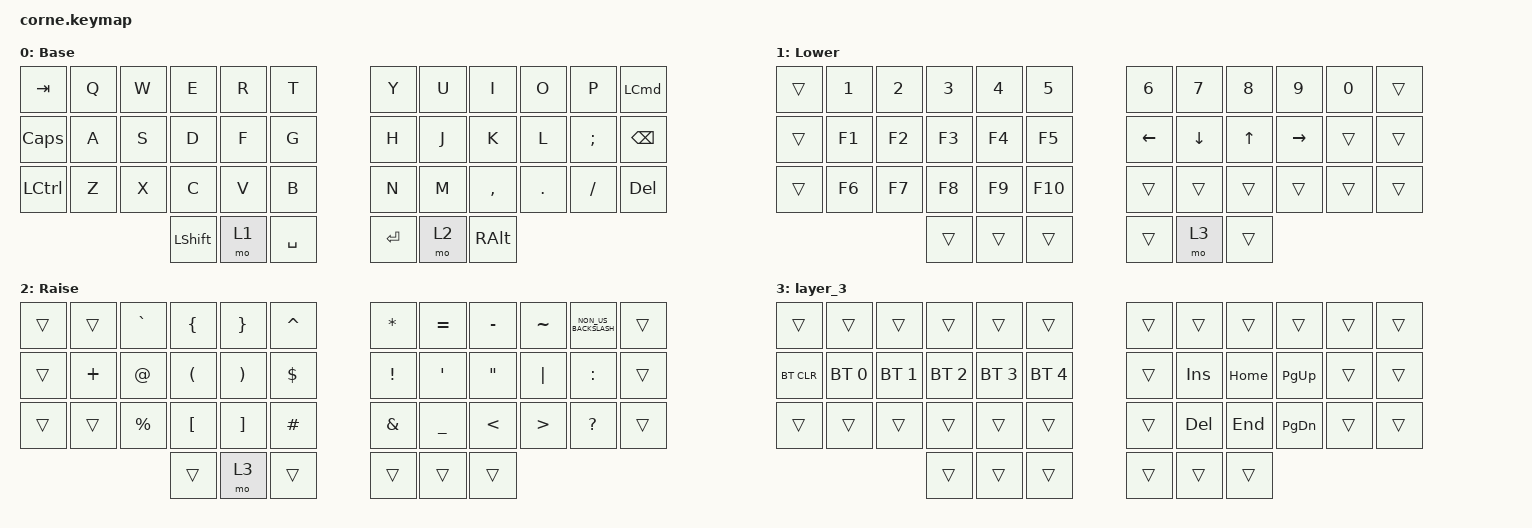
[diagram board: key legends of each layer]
/*
 * Copyright (c) 2020 The ZMK Contributors
 *
 * SPDX-License-Identifier: MIT
 */

#include <behaviors.dtsi>
#include <dt-bindings/zmk/bt.h>
#include <dt-bindings/zmk/keys.h>

/ {
    keymap {
        compatible = "zmk,keymap";

        default_layer {
            // -----------------------------------------------------------------------------------------
            // |  TAB |  Q  |  W  |  E  |  R  |  T  |   |  Y  |  U   |  I  |  O  |  P  | BKSP |
            // | CTRL |  A  |  S  |  D  |  F  |  G  |   |  H  |  J   |  K  |  L  |  ;  |  '   |
            // | SHFT |  Z  |  X  |  C  |  V  |  B  |   |  N  |  M   |  ,  |  .  |  /  | ESC  |
            //                    | GUI | LWR | SPC |   | ENT | RSE  | ALT |

            display-name = "Base";
            bindings = <
&kp TAB           &kp Q  &kp W  &kp E           &kp R  &kp T        &kp Y    &kp U  &kp I      &kp O    &kp P     &kp LEFT_COMMAND
&kp CAPSLOCK      &kp A  &kp S  &kp D           &kp F  &kp G        &kp H    &kp J  &kp K      &kp L    &kp SEMI  &kp BACKSPACE
&kp LEFT_CONTROL  &kp Z  &kp X  &kp C           &kp V  &kp B        &kp N    &kp M  &kp COMMA  &kp DOT  &kp FSLH  &kp DELETE
                                &kp LEFT_SHIFT  &mo 1  &kp SPACE    &kp RET  &mo 2  &kp RALT
            >;
        };

        lower_layer {
            // -----------------------------------------------------------------------------------------
            // |  TAB |  1  |  2  |  3  |  4  |  5  |   |  6  |  7  |  8  |  9  |  0  | BKSP |
            // | BTCLR| BT1 | BT2 | BT3 | BT4 | BT5 |   | LFT | DWN |  UP | RGT |     |      |
            // | SHFT |     |     |     |     |     |   |     |     |     |     |     |      |
            //                    | GUI |     | SPC |   | ENT |     | ALT |

            display-name = "Lower";
            bindings = <
&trans  &kp N1  &kp N2  &kp N3  &kp N4  &kp N5     &kp N6    &kp N7    &kp N8  &kp N9     &kp N0  &trans
&trans  &kp F1  &kp F2  &kp F3  &kp F4  &kp F5     &kp LEFT  &kp DOWN  &kp UP  &kp RIGHT  &trans  &trans
&trans  &kp F6  &kp F7  &kp F8  &kp F9  &kp F10    &trans    &trans    &trans  &trans     &trans  &trans
                        &trans  &trans  &trans     &trans    &mo 3     &trans
            >;
        };

        raise_layer {
            // -----------------------------------------------------------------------------------------
            // |  TAB |  !  |  @  |  #  |  $  |  %  |   |  ^  |  &  |  *  |  (  |  )  | BKSP |
            // | CTRL |     |     |     |     |     |   |  -  |  =  |  [  |  ]  |  \  |  `   |
            // | SHFT |     |     |     |     |     |   |  _  |  +  |  {  |  }  | "|" |  ~   |
            //                    | GUI |     | SPC |   | ENT |     | ALT |

            display-name = "Raise";
            bindings = <
&trans  &trans    &kp GRAVE    &kp LEFT_BRACE        &kp RIGHT_BRACE        &kp CARET     &kp ASTERISK     &kp EQUAL       &kp MINUS          &kp TILDE         &kp NON_US_BACKSLASH  &trans
&trans  &kp PLUS  &kp AT_SIGN  &kp LEFT_PARENTHESIS  &kp RIGHT_PARENTHESIS  &kp DOLLAR    &kp EXCLAMATION  &kp SQT         &kp DOUBLE_QUOTES  &kp PIPE          &kp COLON             &trans
&trans  &trans    &kp PERCENT  &kp LEFT_BRACKET      &kp RIGHT_BRACKET      &kp HASH      &kp AMPERSAND    &kp UNDERSCORE  &kp LESS_THAN      &kp GREATER_THAN  &kp QUESTION          &trans
                               &trans                &mo 3                  &trans        &trans           &trans          &trans
            >;
        };

        layer_3 {
            bindings = <
&trans      &trans        &trans        &trans        &trans        &trans          &trans  &trans      &trans    &trans         &trans  &trans
&bt BT_CLR  &bt BT_SEL 0  &bt BT_SEL 1  &bt BT_SEL 2  &bt BT_SEL 3  &bt BT_SEL 4    &trans  &kp INS     &kp HOME  &kp PAGE_UP    &trans  &trans
&trans      &trans        &trans        &trans        &trans        &trans          &trans  &kp DELETE  &kp END   &kp PAGE_DOWN  &trans  &trans
                                        &trans        &trans        &trans          &trans  &trans      &trans
            >;
        };
    };
};
